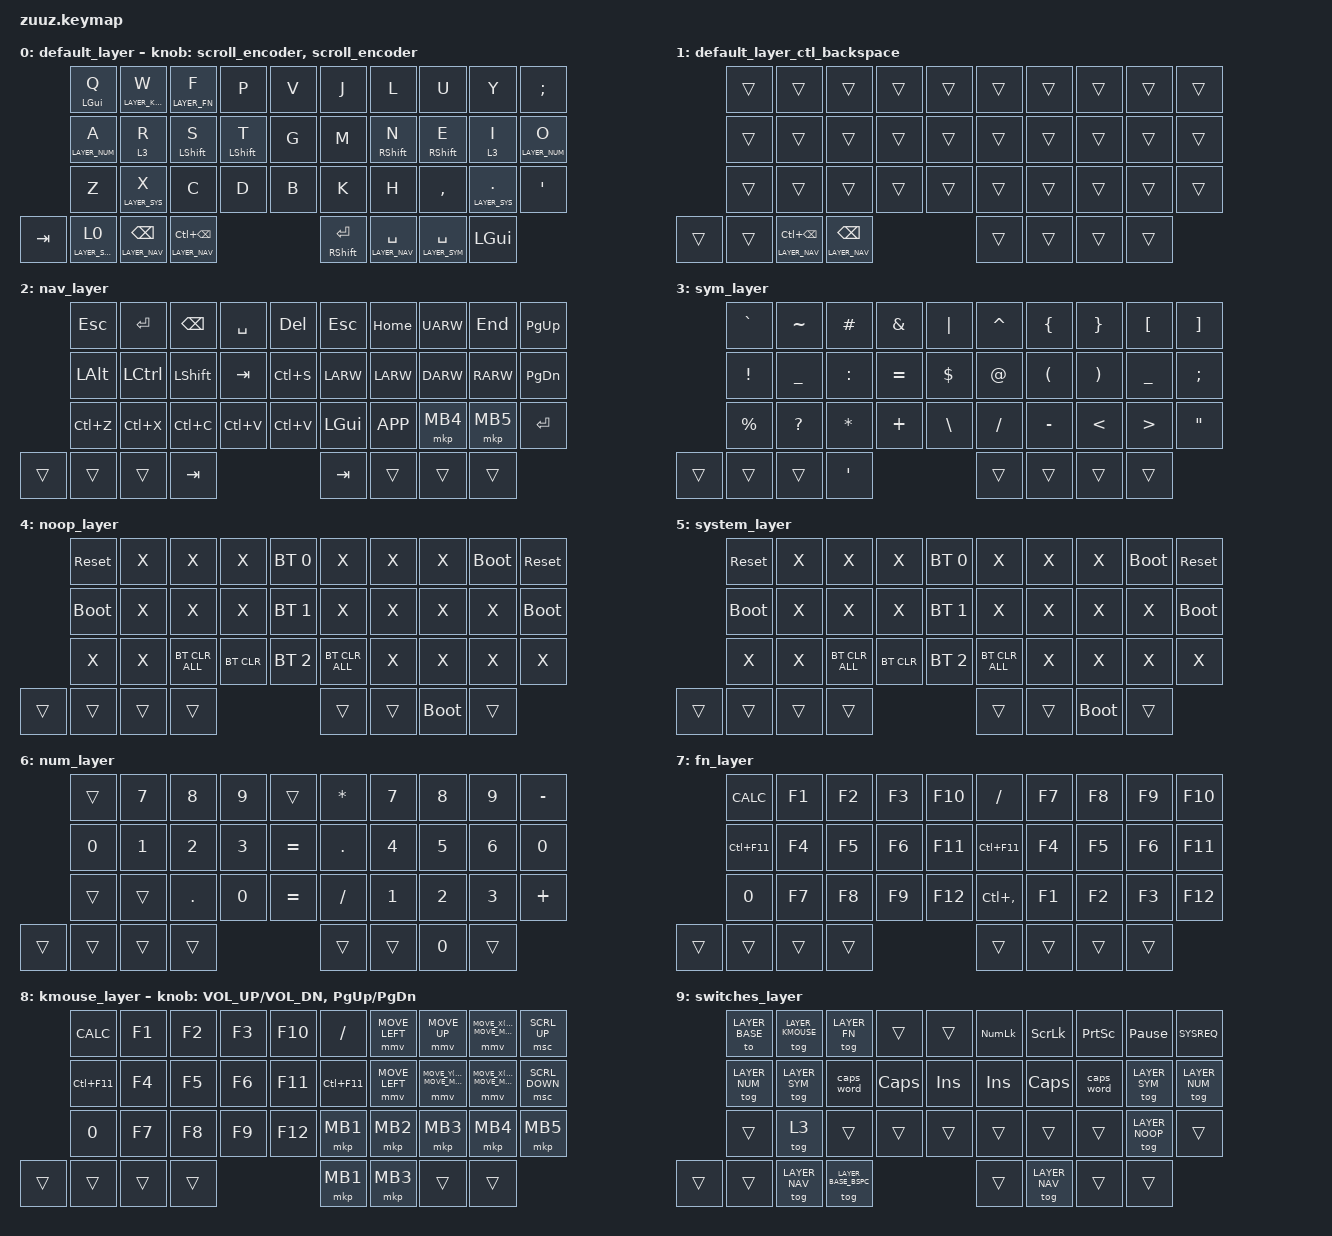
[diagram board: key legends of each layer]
// Copyright (c) 2022 The ZMK Contributors
// SPDX-License-Identifier: MIT

#include <behaviors.dtsi>
#include <dt-bindings/zmk/keys.h>
#include <dt-bindings/zmk/bt.h>
#include <dt-bindings/zmk/mouse.h>
#include <behaviors/mouse_keys.dtsi>


#define LAYER_BASE 0
#define LAYER_BASE_BSPC 1
#define LAYER_NAV 2
#define LAYER_SYM 3
#define LAYER_NOOP 4
#define LAYER_SYS 5
#define LAYER_NUM 6
#define LAYER_FN 7
#define LAYER_KMOUSE 8
#define LAYER_SWITCHES 9


// Home row mods macro
#define HRML(k1,k2,k3,k4) &homey_lt LAYER_NUM k1  &homey_lt LAYER_SYM k2   &shift_left LSHFT k3  &shift_left LSHFT k4
#define HRMR(k1,k2,k3,k4) &shift_right RSHFT k1  &shift_right RSHFT k2  &homey_rt LAYER_SYM k3  &homey_rt LAYER_NUM k4

&mmv {
  acceleration-exponent = <1>;      // 1
  time-to-max-speed-ms = <1500>;    // 40
  delay-ms = <0>;                   // 0
};

#define ZMK_MOUSE_DEFAULT_SCRL_VAL 50 // 10

&msc {
    acceleration-exponent = <0>;      // 0
    time-to-max-speed-ms = <0>;       // 300
    delay-ms = <0>;                   // 0
};

#define U_MOUSE_MOVE_MAX 1250       // 600
#define U_MOUSE_SCROLL_MAX 10      // 10

#undef MOVE_UP
#undef MOVE_DOWN
#undef MOVE_LEFT
#undef MOVE_RIGHT
#define MOVE_UP MOVE_Y(-U_MOUSE_MOVE_MAX)
#define MOVE_DOWN MOVE_Y(U_MOUSE_MOVE_MAX)
#define MOVE_LEFT MOVE_X(-U_MOUSE_MOVE_MAX)
#define MOVE_RIGHT MOVE_X(U_MOUSE_MOVE_MAX)

#undef SCROLL_UP
#undef SCROLL_DOWN
#undef SCROLL_LEFT
#undef SCROLL_RIGHT
#define SCROLL_UP SCRL_Y(U_MOUSE_SCROLL_MAX)
#define SCROLL_DOWN SCRL_Y(-U_MOUSE_SCROLL_MAX)
#define SCROLL_LEFT SCRL_X(-U_MOUSE_SCROLL_MAX)
#define SCROLL_RIGHT SCRL_X(U_MOUSE_SCROLL_MAX)


/ {
    behaviors {
        /omit-if-no-ref/ mmv_fast: mmv_fast {
            compatible = "zmk,behavior-input-two-axis";
            #binding-cells = <1>;
            x-input-code = <INPUT_REL_X>;
            y-input-code = <INPUT_REL_Y>;
            time-to-max-speed-ms = <50>;
            acceleration-exponent = <10>;
        };
		
		mmv_input_listener {
			compatible = "zmk,input-listener";
			device = <&mmv_fast>;
		};

		ht: hold_tap {
            compatible = "zmk,behavior-hold-tap";
            #binding-cells = <2>;
            flavor = "tap-preferred";
            tapping-term-ms = <220>;
            quick-tap-ms = <150>;
            require-prior-idle-ms = <100>;
            bindings = <&kp>, <&kp>;
        };
	
        rot_msc: sensor_rotate_msc {
            compatible = "zmk,behavior-sensor-rotate-var";
            #sensor-binding-cells = <2>;
            bindings = <&msc>, <&msc>;
			tap-ms = <50>;
			
        };

        scroll_encoder: scroll_encoder {
            compatible = "zmk,behavior-sensor-rotate";
            #sensor-binding-cells = <0>;
            bindings = <&msc SCRL_UP>, <&msc SCRL_DOWN>;
            tap-ms = <50>;
        };

		
        etch_a_sketch_encoder: etch_a_sketch_encoder {
            compatible = "zmk,behavior-sensor-rotate-var";
            #sensor-binding-cells = <2>;
            bindings = <&mmv_fast>, <&mmv_fast>;
            tap-ms = <50>;
        };

		//////////////////////////////////////////////////////////////////////////
		//
		// Miryoku layers and home row mods (ported from my QMK endgame)
		// - https://sunaku.github.io/home-row-mods.html#porting-to-zmk+*ffp
		// - https://github.com/urob/zmk-config#timeless-homerow-mods
		//
		//////////////////////////////////////////////////////////////////////////

		//
		// HOMEY_HOLDING_TYPE defines the flavor of ZMK hold-tap behavior to use
		// for the pinky, ring, and middle fingers (which are assigned to Super,
		// Alt, and Ctrl respectively in the Miryoku system) on home row keys.
		//
		#ifndef HOMEY_HOLDING_TYPE
		#define HOMEY_HOLDING_TYPE "balanced"
		#endif

		//
		// HOMEY_HOLDING_TIME defines how long you need to hold (milliseconds)
		// home row mod keys in order to send their modifiers to the computer
		// (i.e. "register" them) for mod-click mouse usage (e.g. Ctrl-Click).
		//
		#ifndef HOMEY_HOLDING_TIME
		#define HOMEY_HOLDING_TIME 500
		#endif

		//
		// HOMEY_STREAK_DECAY defines how long you need to wait (milliseconds)
		// after typing before you can use home row mods again.  It prevents
		// unintended activation of home row mods when you're actively typing.
		//
		#ifndef HOMEY_STREAK_DECAY
		#define HOMEY_STREAK_DECAY 170 // global-quick-tap-ms
		#endif

		//
		// HOMEY_REPEAT_DECAY defines how much time you have left (milliseconds)
		// after tapping a key to hold it again in order to make it auto-repeat.
		//
		#ifndef HOMEY_REPEAT_DECAY
		#define HOMEY_REPEAT_DECAY 300 // "tap then hold" for key auto-repeat
		#endif

		//
		// SHIFT_HOLDING_TYPE defines the flavor of ZMK hold-tap behavior to use
		// for index fingers (which Miryoku assigns to Shift) on home row keys.
		//
		// NOTE: The "tap-preferred" flavor of ZMK hold-tap for index finger keys
		// allows faster activation of the Shift modifier (without having to wait
		// for the modified key to be released as the "balanced" flavor requires).
		// Typing streaks and the `hold-trigger-on-release` setting are disabled
		// for the index fingers so as not to hinder their speed and dexterity.
		//
		#ifndef SHIFT_HOLDING_TYPE
		#define SHIFT_HOLDING_TYPE "balanced"
		#endif

		//
		// SHIFT_HOLDING_TIME defines how long you need to hold (milliseconds)
		// index finger keys in order to send their modifiers to the computer
		// (i.e. "register" them) for mod-click mouse usage (e.g. Shift-Click).
		//
		// CAUTION: You'll need to perform inward rolls from pinky->ring->middle
		// fingers toward the index fingers when activating multiple modifiers
		// because `hold-trigger-on-release` is disabled for the index fingers.
		// Otherwise, you may be surprised that the index fingers' modifier is
		// sent immediately without the rest of your multi-mod chord when you
		// perform outward rolls from your index fingers toward your pinkies.
		//
		#ifndef SHIFT_HOLDING_TIME
		#define SHIFT_HOLDING_TIME 170
		#endif

		//
		// SHIFT_STREAK_DECAY defines how long you need to wait (milliseconds)
		// after typing before you can use home row mods again.  It prevents
		// unintended activation of home row mods when you're actively typing.
		//
		#ifndef SHIFT_STREAK_DECAY
		#define SHIFT_STREAK_DECAY 70 // global-quick-tap-ms
		#endif

		//
		// SHIFT_REPEAT_DECAY defines how much time you have left (milliseconds)
		// after tapping a key to hold it again in order to make it auto-repeat.
		//
		#ifndef SHIFT_REPEAT_DECAY
		#define SHIFT_REPEAT_DECAY 300 // "tap then hold" for key auto-repeat
		#endif

		//
		// THUMB_HOLDING_TYPE defines the flavor of ZMK hold-tap behavior to use
		// for the thumbs (which are assigned to 6 layers in the Miryoku system).
		//
		// NOTE: The "balanced" flavor of ZMK hold-tap provides instant modifier
		// activation for the symbol layer (if the tapped symbol key is released
		// while the thumb layer key is still held down) for quicker programming.
		//
		#ifndef THUMB_HOLDING_TYPE
		#define THUMB_HOLDING_TYPE "balanced"
		#endif

		//
		// THUMB_HOLDING_TIME defines how long you need to hold (milliseconds)
		// a thumb key to activate a layer.  Shorter holds are treated as taps.
		//
		#ifndef THUMB_HOLDING_TIME
		#define THUMB_HOLDING_TIME 5000
		#endif

		//
		// THUMB_REPEAT_DECAY defines how much time you have left (milliseconds)
		// after tapping a key to hold it again in order to make it auto-repeat.
		//
		#ifndef THUMB_REPEAT_DECAY
		#define THUMB_REPEAT_DECAY 300 // "tap then hold" for key auto-repeat
		#endif

		//
		// SPACE_HOLDING_TIME defines how long you need to hold (milliseconds)
		// the space thumb key to activate.  Shorter holds are treated as taps.
		//
		#ifndef SPACE_HOLDING_TIME
		#define SPACE_HOLDING_TIME 170
		#endif

		//
		// SPACE_REPEAT_DECAY defines how much time you have left (milliseconds)
		// after tapping a key to hold it again in order to make it auto-repeat.
		//
		#ifndef SPACE_REPEAT_DECAY
		#define SPACE_REPEAT_DECAY 200 // "tap then hold" for key auto-repeat
		#endif

		//
		// Ferris sweep key positions index for positional hold-tap
		//
		// |------------------------|------------------------|
		// | LEFT_HAND_KEYS         |        RIGHT_HAND_KEYS |
		// |                        |                        |
		// |  0  1  2  3  4         |          5  6  7  8  9 |
		// | 10 11 12 13 14         |         15 16 17 18 19 |
		// | 20 21 22 23 24         |      25 26 27 28 29 30 |
		// |	        31 32 33    |  34 35 36              |
		// |------------------------|------------------------|
		//
		#define LEFT_HAND_KEYS  \
			  0  1  2  3  4     \
			 10 11 12 13 14     \
			 20 21 22 23 24

		#define RIGHT_HAND_KEYS     \
										5  6  7  8  9 \
									   15 16 17 18 19 \
									   25 26 27 28 29 30
		#define THUMB_KEYS          \
							31 32 33   34 35 36  

		//
		// Home row mod-tap keys for all except index fingers
		//
		homey_left: homey_left {
			compatible = "zmk,behavior-hold-tap";
			flavor = HOMEY_HOLDING_TYPE;
			hold-trigger-key-positions = <RIGHT_HAND_KEYS THUMB_KEYS>;
			//hold-trigger-on-release; // wait for other home row mods
			tapping-term-ms = <HOMEY_HOLDING_TIME>;
			quick-tap-ms = <HOMEY_REPEAT_DECAY>;
			require-prior-idle-ms = <HOMEY_STREAK_DECAY>;
			#binding-cells = <2>;
			bindings = <&kp>, <&kp>;
		};
		homey_right: homey_right {
			compatible = "zmk,behavior-hold-tap";
			flavor = HOMEY_HOLDING_TYPE;
			hold-trigger-key-positions = <LEFT_HAND_KEYS THUMB_KEYS>;
			//hold-trigger-on-release; // wait for other home row mods
			tapping-term-ms = <HOMEY_HOLDING_TIME>;
			quick-tap-ms = <HOMEY_REPEAT_DECAY>;
			require-prior-idle-ms = <HOMEY_STREAK_DECAY>;
			#binding-cells = <2>;
			bindings = <&kp>, <&kp>;
		};
 
        //
		// Special home row mod-tap keys for the index fingers
		
		shift_left: shift_left {
			compatible = "zmk,behavior-hold-tap";
			flavor = SHIFT_HOLDING_TYPE;
			hold-trigger-key-positions = <RIGHT_HAND_KEYS THUMB_KEYS>;
			//hold-trigger-on-release; // don't wait for other mods
			tapping-term-ms = <SHIFT_HOLDING_TIME>;
			//quick-tap-ms = <SHIFT_REPEAT_DECAY>;
			//require-prior-idle-ms = <SHIFT_STREAK_DECAY>;
			#binding-cells = <2>;
			bindings = <&kp>, <&kp>;
		};
		
		shift_right: shift_right {
			compatible = "zmk,behavior-hold-tap";
			flavor = SHIFT_HOLDING_TYPE;
			hold-trigger-key-positions = <LEFT_HAND_KEYS THUMB_KEYS>;
			//hold-trigger-on-release; // don't wait for other mods
			tapping-term-ms = <SHIFT_HOLDING_TIME>;
			//quick-tap-ms = <SHIFT_REPEAT_DECAY>;
			//require-prior-idle-ms = <SHIFT_STREAK_DECAY>;
			#binding-cells = <2>;
			bindings = <&kp>, <&kp>;
		}; 
		
		homey_lt: homey_lt {
			compatible = "zmk,behavior-hold-tap";
			label = "HOMEY_LT";
			flavor = SHIFT_HOLDING_TYPE;
			hold-trigger-key-positions = <RIGHT_HAND_KEYS THUMB_KEYS>;
			//hold-trigger-on-release; // don't wait for other mods
			tapping-term-ms = <HOMEY_HOLDING_TIME>;
			//quick-tap-ms = <SHIFT_REPEAT_DECAY>;
			//require-prior-idle-ms = <SHIFT_STREAK_DECAY>;
			#binding-cells = <2>;
			bindings = <&mo>, <&kp>;
		};
	    homey_rt: homey_rt {
			compatible = "zmk,behavior-hold-tap";
			flavor = SHIFT_HOLDING_TYPE;
			hold-trigger-key-positions = <LEFT_HAND_KEYS THUMB_KEYS>;
			//hold-trigger-on-release; // don't wait for other mods
			tapping-term-ms = <HOMEY_HOLDING_TIME>;
			//quick-tap-ms = <SHIFT_REPEAT_DECAY>;
			//require-prior-idle-ms = <SHIFT_STREAK_DECAY>;
			#binding-cells = <2>;
			bindings = <&mo>, <&kp>;
		};
	    homey_rt_tap: homey_rt_tap {
			compatible = "zmk,behavior-hold-tap";
			flavor = "tap-preferred";
			hold-trigger-key-positions = <LEFT_HAND_KEYS THUMB_KEYS>;
			//hold-trigger-on-release; // don't wait for other mods
			tapping-term-ms = <HOMEY_HOLDING_TIME>;
			//quick-tap-ms = <SHIFT_REPEAT_DECAY>;
			//require-prior-idle-ms = <SHIFT_STREAK_DECAY>;
			#binding-cells = <2>;
			bindings = <&mo>, <&kp>;
		};

		//
		// Thumb cluster hold-tap keys for Miryoku layers
		//
		thumb: miryoku_thumb_layer {
			compatible = "zmk,behavior-hold-tap";
			label = "MIRYOKU_THUMB_LAYER";
			flavor = THUMB_HOLDING_TYPE;
			tapping-term-ms = <THUMB_HOLDING_TIME>;
			quick-tap-ms = <THUMB_REPEAT_DECAY>; // enable repeat
			//global-quick-tap; // no typing streak
			//retro-tap; // don't allow slow (hold-like) taps
			#binding-cells = <2>;
			bindings = <&mo>, <&kp>;
		};
		backspace: miryoku_backspace_layer {
			compatible = "zmk,behavior-hold-tap";
			label = "MIRYOKU_BACKSPACE_LAYER";
			flavor = "hold-preferred";
			tapping-term-ms = <THUMB_HOLDING_TIME>;
			quick-tap-ms = <THUMB_REPEAT_DECAY>; // enable repeat
			//global-quick-tap; // no typing streak
			//retro-tap; // don't allow slow (hold-like) taps
			#binding-cells = <2>;
			bindings = <&mo>, <&kp>;
		};
		space: miryoku_thumb_layer_spacebar {
			compatible = "zmk,behavior-hold-tap";
			label = "MIRYOKU_THUMB_LAYER_SPACEBAR";
			flavor = THUMB_HOLDING_TYPE;
			tapping-term-ms = <SPACE_HOLDING_TIME>;
			quick-tap-ms = <SPACE_REPEAT_DECAY>; // enable repeat
			//global-quick-tap; // no typing streak
			retro-tap; // allow slow (hold-like) taps
			#binding-cells = <2>;
			bindings = <&mo>, <&kp>;
		};

		//////////////////////////////////////////////////////////////////////////
		//
		// Custom shifted pairs
		//
		//////////////////////////////////////////////////////////////////////////

		//
		// Shift + CapsWord = CapsLock
		//
		cappy: capsword_and_capslock {
			compatible = "zmk,behavior-mod-morph";
			label = "CAPSWORD_AND_CAPSLOCK";
			#binding-cells = <0>;
			bindings = <&caps_word>, <&kp CAPSLOCK>;
			mods = <(MOD_LSFT|MOD_RSFT)>;
		};

		mm_you: mm_you {
            compatible = "zmk,behavior-mod-morph";
            #binding-cells = <0>;
            bindings = <&mlc_you>, <&muc_you>;
            mods = <(MOD_LSFT)>;
        };

		lmt: layer_momentary_to {
			compatible = "zmk,behavior-hold-tap";
			tapping-term-ms = <THUMB_HOLDING_TIME>;
			flavor = THUMB_HOLDING_TYPE;
			#binding-cells = <2>;
			bindings = <&mo>, <&to>;
		};

		//////////////////////////////////////////////////////////////////////////
		//
		// ZMK global overrides
		//
		//////////////////////////////////////////////////////////////////////////

		//
		// CapsWord - ported from Pascal Getreuer's extension for QMK
		// - https://zmk.dev/docs/behaviors/caps-word
		// - https://getreuer.info/posts/keyboards/caps-word/index.html
		//
		behavior_caps_word {
			continue-list = <
				UNDERSCORE MINUS
				BACKSPACE DELETE
				N1 N2 N3 N4 N5 N6 N7 N8 N9 N0
			>;
		};
	};


    conditional_layers {
        compatible = "zmk,conditional-layers";
        tri_layer {
            if-layers = <1 2>;
            then-layer = <3>;
        };
    };

    macros {
		y_o_u: y_o_u {
			compatible = "zmk,behavior-macro";
			#binding-cells = <0>;
			bindings
				= <&macro_tap &kp Y &kp O &kp U>
				;
		};
        v_e_r: v_e_r {
            compatible = "zmk,behavior-macro";
            #binding-cells = <0>;
            bindings
                = <&macro_tap &kp V &kp E &kp R>
                ;
        };
        v_e: v_e {
            compatible = "zmk,behavior-macro";
            #binding-cells = <0>;
            bindings
                = <&macro_tap &kp V &kp E>
                ;
        };
		cap_y_o_u: cap_y_o_u {
            compatible = "zmk,behavior-macro";
            #binding-cells = <0>;
            bindings
                = <&kp LS(Y)>
                , <&kp O>
                , <&kp U>
                ;
        };

		muc_you: macro_uc_you {
            compatible = "zmk,behavior-macro";
            #binding-cells = <0>;
            wait-ms = <0>;
            tap-ms = <1>;
            bindings
                = <&kp LS(Y)>
                , <&kp O>
                , <&kp U>
                ;
        };

        mlc_you: macro_lc_you {
            compatible = "zmk,behavior-macro";
            #binding-cells = <0>;
            wait-ms = <0>;
            tap-ms = <1>;
            bindings
                = <&kp Y>
                , <&kp O>
                , <&kp U>
                ;
        };
   };
	
	//
	// |------------------------|------------------------|
	// | LEFT_HAND_KEYS         |        RIGHT_HAND_KEYS |
	// |                        |                        |
	// |  0  1  2  3  4         |          5  6  7  8  9 |
	// | 10 11 12 13 14         |         15 16 17 18 19 |
	// | 20 21 22 23 24         |         25 26 27 28 29 |
	// |	       30 31 32     |  33 34 35              |
	// |------------------------|------------------------|
	//
	
    combos {
        compatible = "zmk,combos";
        combo_esc {
            timeout-ms = <50>;
            key-positions = <0 1>;
            bindings = <&kp ESC>;
        };
        combo_find {
            timeout-ms = <50>;
            key-positions = <1 2>;
            bindings = <&kp LC(F)>;
        };
        combo_findfiles {
            timeout-ms = <50>;
            key-positions = <1 2 3>;
            bindings = <&kp LC(LS(F))>;
        };
		combo_lctl {
            timeout-ms = <50>;
            key-positions = <20 21>;
            bindings = <&sk LCTRL>;
        };
        combo_lalt {
            timeout-ms = <50>;
            key-positions = <21 22>;
            bindings = <&sk LALT>;
        };
        combo_lcalt {
            timeout-ms = <50>;
            key-positions = <20 21 22>;
            bindings = <&sk LC(LALT)>;
        };
		combo_rctl {
            timeout-ms = <50>;
            key-positions = <28 29>;
            bindings = <&sk RCTRL>;
        };
        combo_ralt {
            timeout-ms = <50>;
            key-positions = <27 28>;
            bindings = <&sk RALT>;
        }; 
        combo_rcalt {
            timeout-ms = <50>;
            key-positions = <27 28 29>;
            bindings = <&sk RC(RALT)>;
        };
		combo_lgui {
            timeout-ms = <50>;
            key-positions = <30 31>;
            bindings = <&sk LGUI>;
        };
        combo_rgui {
            timeout-ms = <50>;
            key-positions = <34 35>;
            bindings = <&sk RGUI>;
        };
        combo_app1 {
            timeout-ms = <50>;
            key-positions = <30 32>;
            bindings = <&kp K_APP>;
        };
        combo_app2 {
            timeout-ms = <50>;
            key-positions = <33 35>;
            bindings = <&kp K_APP>;
        };
        combo_YOU {
            timeout-ms = <50>;
            key-positions = <7 8>;
            bindings = <&mm_you>;
            layers = <0>;
        };
        combo_ver {
		    layers = <0>;
            timeout-ms = <50>;
            key-positions = <10 11>;
            bindings = <&v_e_r>;
        };		
        combo_ver2 {
		    layers = <0>;
            timeout-ms = <50>;
            key-positions = <3 4>;
            bindings = <&v_e_r>;
        };		 
        combo_ver3 {
		    layers = <0>;
            timeout-ms = <50>;
            key-positions = <17 27>;
            bindings = <&v_e>;
        };	
	};


    keymap {
        compatible = "zmk,keymap";
        default_layer {
            bindings = <
        //╭──────────┬──────────┬──────────┬──────────┬──────────╮   ╭──────────┬──────────┬──────────┬──────────┬──────────╮
        //│  Q       │  W       │  F       │  P       │  V       │   │  J       │  L       │  U       │  Y       │  P       │
 &homey_left LGUI Q  &homey_lt LAYER_KMOUSE W  &homey_lt LAYER_FN F  &kp P  &kp V       &kp J     &kp L       &kp U   &kp Y     &kp SEMI
        //├──────────┼──────────┼──────────┼──────────┼──────────┤   ├──────────┼──────────┼──────────┼──────────┼──────────┤
        //│  A       │  R       │  S       │  T       │  G       │   │  M       │  N       │  E       │  I       │ O        │
 &homey_lt LAYER_NUM A  &homey_lt 3 R  &shift_left LSHFT S  &shift_left LSHFT T  &kp G   
                                                                       &kp M  &shift_right RSHFT N  &shift_right RSHFT E  &homey_rt 3 I  &homey_rt LAYER_NUM O
        //├──────────┼──────────┼──────────┼──────────┼──────────┤   ├──────────┼──────────┼──────────┼──────────┼──────────┤
        //│  Z       │  X       │  C       │  D       │  B       │   │   K      │  H       │ , <      │ . >      │ / ?      │
        &kp Z  &homey_lt LAYER_SYS X	&kp C      &kp D      &kp B          &kp K    &kp H      &kp COMMA  &homey_rt LAYER_SYS DOT  &kp SQT
        //╰──────────┴──────────┴──────────┼──────────┼──────────┤   ├──────────┼──────────┼──────────┴──────────┴──────────╯
      &kp TAB   &lmt LAYER_SWITCHES 0   &backspace LAYER_NAV BSPC  &backspace LAYER_NAV LC(BSPC)    &homey_right RSHFT ENTER    &thumb LAYER_NAV SPACE    &thumb LAYER_SYM SPACE   &kp LGUI

        //                                 ╰──────────┴──────────╯   ╰──────────┴──────────╯
		// Don't try and put shift and space on the same key. You often need to shift after a space.
			>;   
			
           sensor-bindings = <&scroll_encoder	 &scroll_encoder >;    

	   };

        default_layer_ctl_backspace {
            bindings = <
        //╭──────────┬──────────┬──────────┬──────────┬──────────╮   ╭──────────┬──────────┬──────────┬──────────┬──────────╮
           &trans      &trans     &trans     &trans     &trans         &trans      &trans     &trans     &trans     &trans      
        //├──────────┼──────────┼──────────┼──────────┼──────────┤   ├──────────┼──────────┼──────────┼──────────┼──────────┤
           &trans      &trans     &trans     &trans     &trans         &trans      &trans     &trans     &trans     &trans      
        //├──────────┼──────────┼──────────┼──────────┼──────────┤   ├──────────┼──────────┼──────────┼──────────┼──────────┤
           &trans      &trans     &trans     &trans     &trans         &trans      &trans     &trans     &trans     &trans      
        //╰──────────┴──────────┴──────────┼──────────┼──────────┤   ├──────────┼──────────┼──────────┴──────────┴──────────╯
   &trans &trans &backspace LAYER_NAV LC(BSPC) &backspace LAYER_NAV BSPC  &trans      &trans     &trans     &trans

        //                                 ╰──────────┴──────────╯   ╰──────────┴──────────╯
			>;   
	   };

        nav_layer {
            bindings = <	
        //╭──────────┬──────────┬──────────┬──────────┬──────────╮   ╭──────────┬──────────┬──────────┬──────────┬──────────╮
            &kp ESC    &kp ENTER  &kp BSPC   &kp SPACE  &kp DEL        &kp ESC    &kp HOME   &kp UARW   &kp END    &kp PG_UP
        //├──────────┼──────────┼──────────┼──────────┼──────────┤   ├──────────┼──────────┼──────────┼──────────┼──────────┤
            &kp LALT   &kp LCTRL  &kp LSHFT  &kp TAB    &kp LC(S)      &kp LARW   &kp LARW   &kp DARW   &kp RARW   &kp PG_DN
        //├──────────┼──────────┼──────────┼──────────┼──────────┤   ├──────────┼──────────┼──────────┼──────────┼──────────┤
            &kp LC(Z)  &kp LC(X)  &kp LC(C) &kp LC(V)  &kp LC(V)      &kp LGUI   &kp K_APP  &mkp MB4   &mkp MB5  &kp ENTER
        //╰──────────┴──────────┴──────────┼──────────┼──────────┤   ├──────────┼──────────┼──────────┴──────────┴──────────╯
                    &trans     &trans            &trans    &kp TAB        &kp TAB    &trans    &trans  &trans 

        //                                 ╰──────────┴──────────╯   ╰──────────┴──────────╯
            >;
        };
			 
		
		sym_layer {
            bindings = <
        //╭──────────┬──────────┬──────────┬──────────┬──────────╮   ╭──────────┬──────────┬──────────┬──────────┬──────────╮
        //│ `        │  ~       │  #       │  &       │ |        │   │  ^       │  {       │  }       │  [       │ ]        │
            &kp GRAVE  &kp TILDE  &kp HASH   &kp AMPS   &kp PIPE       &kp CARET  &kp LBRC   &kp RBRC   &kp LBKT   &kp RBKT
        //├──────────┼──────────┼──────────┼──────────┼──────────┤   ├──────────┼──────────┼──────────┼──────────┼──────────┤
        //│  !       │  _       │  :       │  =       │  $       │   │  @       │  (       │  )       │  _       │  ;       │
           &kp EXCL   &kp UNDER   &kp COLON  &kp EQUAL  &kp DLLR       &kp AT     &kp LPAR   &kp RPAR   &kp UNDER  &kp SEMI
        //├──────────┼──────────┼──────────┼──────────┼──────────┤   ├──────────┼──────────┼──────────┼──────────┼──────────┤
        //│ %        │  ?       │ *        │ +        │ \        │   │ /        │  -       │  <       │  >       │ "        │
            &kp PRCNT  &kp QMARK &kp STAR    &kp PLUS  &kp BSLH       &kp SLASH &kp MINUS  &kp LT    &kp GT      &kp DQT
        //╰──────────┴──────────┴──────────┼──────────┼──────────┤   ├──────────┼──────────┼──────────┴──────────┴──────────╯
                        &trans      &trans        &trans    &kp SQT         &trans     &trans     &trans  &trans
        //                                 ╰──────────┴──────────╯   ╰──────────┴──────────╯   		
		    >;
        };

		noop_layer {
            bindings = <
        //╭──────────┬──────────┬──────────┬──────────┬──────────╮   ╭──────────┬──────────┬──────────┬──────────┬──────────╮
        //│ RESET    │          │          │          │PROFILE 0 │   │          │          │          │          │  RESET   │
           &sys_reset  &kp X     &kp X     &kp X    &bt BT_SEL 0      &kp X     &kp X     &kp X     &bootloader   &sys_reset
        //├──────────┼──────────┼──────────┼──────────┼──────────┤   ├──────────┼──────────┼──────────┼──────────┼──────────┤
        //│BOOTLOADER│          │          │          │PROFILE 1 │   │          │          │          │          │BOOTLOADER│
          &bootloader  &kp X     &kp X     &kp X    &bt BT_SEL 1       &kp X     &kp X     &kp X     &kp X    &bootloader
        //├──────────┼──────────┼──────────┼──────────┼──────────┤   ├──────────┼──────────┼──────────┼──────────┼──────────┤
        //│          │          │          │ CLEAR BT │PROFILE 2 │   │          │          │          │          │          │
            &kp X     &kp X     &bt BT_CLR_ALL    &bt BT_CLR &bt    BT_SEL 2    &bt BT_CLR_ALL    &kp X     &kp X     &kp X     &kp X
        //╰──────────┴──────────┴──────────┼──────────┼──────────┤   ├──────────┼──────────┼──────────┴──────────┴──────────╯
                     &trans          &trans        &trans     &trans         &trans     &trans     &bootloader  &trans
        //                                 ╰──────────┴──────────╯   ╰──────────┴──────────╯

            >;
        };

        system_layer {
            bindings = <
        //╭──────────┬──────────┬──────────┬──────────┬──────────╮   ╭──────────┬──────────┬──────────┬──────────┬──────────╮
        //│ RESET    │          │          │          │PROFILE 0 │   │          │          │          │          │  RESET   │
           &sys_reset  &kp X     &kp X     &kp X    &bt BT_SEL 0      &kp X     &kp X     &kp X     &bootloader    &sys_reset
        //├──────────┼──────────┼──────────┼──────────┼──────────┤   ├──────────┼──────────┼──────────┼──────────┼──────────┤
        //│BOOTLOADER│          │          │          │PROFILE 1 │   │          │          │          │          │BOOTLOADER│
          &bootloader  &kp X     &kp X     &kp X    &bt BT_SEL 1       &kp X     &kp X     &kp X     &kp X    &bootloader
        //├──────────┼──────────┼──────────┼──────────┼──────────┤   ├──────────┼──────────┼──────────┼──────────┼──────────┤
        //│          │          │          │ CLEAR BT │PROFILE 2 │   │          │          │          │          │          │
            &kp X     &kp X     &bt BT_CLR_ALL    &bt BT_CLR &bt    BT_SEL 2    &bt BT_CLR_ALL    &kp X     &kp X     &kp X     &kp X
        //╰──────────┴──────────┴──────────┼──────────┼──────────┤   ├──────────┼──────────┼──────────┴──────────┴──────────╯
                     &trans          &trans        &trans     &trans         &trans     &trans     &bootloader  &trans
        //                                 ╰──────────┴──────────╯   ╰──────────┴──────────╯
            >;
        };
		
		num_layer {
            bindings = <
        //╭──────────┬──────────┬──────────┬──────────┬──────────╮   ╭──────────┬──────────┬──────────┬──────────┬──────────╮
        //│ INSERT   │  1       │  2       │  3       │          │   │ HOME     │ PAGE DN  │ PAGE UP  │ END      │  :       │
            &trans     &kp N7     &kp N8     &kp N9	    &trans         &kp STAR   &kp N7     &kp N8     &kp N9     &kp MINUS
        //├──────────┼──────────┼──────────┼──────────┼──────────┤   ├──────────┼──────────┼──────────┼──────────┼──────────┤
        //│ DELETE   │  4       │  5       │  6       │          │   │ LEFT     │ DOWN     │ UP       │ RIGHT    │  ;       │
            &kp N0     &kp N1     &kp N2     &kp N3    &kp EQUAL	  &kp DOT    &kp N4     &kp N5     &kp N6     &kp N0
        //├──────────┼──────────┼──────────┼──────────┼──────────┤   ├──────────┼──────────┼──────────┼──────────┼──────────┤
        //│ CAPS     │  7       │  8       │  9       │  0       │   │          │          │          │          │          │
            &trans     &trans     &kp DOT    &kp N0     &kp EQUAL      &kp SLASH  &kp N1     &kp N2     &kp N3     &kp PLUS
        //╰──────────┴──────────┴──────────┼──────────┼──────────┤   ├──────────┼──────────┼──────────┴──────────┴──────────╯
                            &trans   &trans    &trans    &trans    &trans   &trans  &kp N0 &trans
        //                                 ╰──────────┴──────────╯   ╰──────────┴──────────╯

            >;
        };

		fn_layer {
            bindings = <
        //╭──────────┬──────────┬──────────┬──────────┬──────────╮   ╭──────────┬──────────┬──────────┬──────────┬──────────╮
        //│ CALC     │  F1      │  F2      │  F3      │ F10      │   │ HOME     │ F7       │ F8       │ F9       │ F10      │
            &kp K_CALC &kp F1     &kp F2     &kp F3     &kp F10        &kp SLASH  &kp F7     &kp F8     &kp F9     &kp F10
        //├──────────┼──────────┼──────────┼──────────┼──────────┤   ├──────────┼──────────┼──────────┼──────────┼──────────┤
        //│ CTL F11  │  F4      │  F5      │  F6      │ F11      │   │ LEFT     │ F4       │ F5       │ F6       │ F11      │
            &kp LC(F11) &kp F4    &kp F5     &kp F6     &kp F11        &kp LC(F11)  &kp F4   &kp F5     &kp F6     &kp F11
        //├──────────┼──────────┼──────────┼──────────┼──────────┤   ├──────────┼──────────┼──────────┼──────────┼──────────┤
        //│ 0        │  F7      │  F8      │  F9      │ F12      │   │ CTL ,    │ F1       │ F2       │ F3       │ F12      │
            &kp N0     &kp F7     &kp F8     &kp F9     &kp F12        &kp LC(COMMA)  &kp F1  &kp F2    &kp F3     &kp F12
        //╰──────────┴──────────┴──────────┼──────────┼──────────┤   ├──────────┼──────────┼──────────┴──────────┴──────────╯
                        &trans       &trans        &trans     &trans         &trans     &trans     &trans  &trans
        //                                 ╰──────────┴──────────╯   ╰──────────┴──────────╯
            >;
        };

		kmouse_layer {
            bindings = <
        //╭──────────┬──────────┬──────────┬──────────┬──────────╮   ╭──────────┬──────────┬──────────┬──────────┬──────────╮
            &kp K_CALC &kp F1     &kp F2     &kp F3     &kp F10        &kp SLASH  &mmv MOVE_LEFT   &mmv MOVE_UP     &mmv MOVE_RIGHT    &msc SCRL_UP
        //├──────────┼──────────┼──────────┼──────────┼──────────┤   ├──────────┼──────────┼──────────┼──────────┼──────────┤
            &kp LC(F11) &kp F4    &kp F5     &kp F6     &kp F11        &kp LC(F11)  &mmv MOVE_LEFT  &mmv MOVE_DOWN  &mmv MOVE_RIGHT    &msc SCRL_DOWN
        //├──────────┼──────────┼──────────┼──────────┼──────────┤   ├──────────┼──────────┼──────────┼──────────┼──────────┤
            &kp N0     &kp F7     &kp F8     &kp F9     &kp F12        &mkp MB1   &mkp MB2    &mkp MB3  &mkp MB4   &mkp MB5
        //╰──────────┴──────────┴──────────┼──────────┼──────────┤   ├──────────┼──────────┼──────────┴─────────┴──────────╯
                     &trans     &trans        &trans     &trans			&mkp MB1  &mkp MB3   &trans  &trans
        //                                 ╰──────────┴──────────╯   ╰──────────┴──────────╯ 
            >;
           sensor-bindings = <&inc_dec_kp C_VOL_UP C_VOL_DN &inc_dec_kp PG_UP PG_DN>;
		   	   };

        switches_layer {
            bindings = <
        //╭──────────┬──────────┬──────────┬──────────┬──────────╮   ╭──────────┬──────────┬──────────┬──────────┬──────────╮
      &to LAYER_BASE  &tog LAYER_KMOUSE  &tog LAYER_FN     &trans     &trans         &kp KP_NUM  &kp SLCK &kp PSCRN  &kp PAUSE_BREAK  &kp SYSREQ
        //├──────────┼──────────┼──────────┼──────────┼──────────┤   ├──────────┼──────────┼──────────┼──────────┼──────────┤
      &tog LAYER_NUM    &tog LAYER_SYM     &caps_word  &kp CAPSLOCK &kp INSERT   &kp INSERT &kp CAPSLOCK  &caps_word  &tog LAYER_SYM  &tog LAYER_NUM
        //├──────────┼──────────┼──────────┼──────────┼──────────┤   ├──────────┼──────────┼──────────┼──────────┼──────────┤
           &trans      &tog 3   &trans      &trans     &trans      &trans      &trans    &trans      &tog LAYER_NOOP   &trans
        //╰──────────┴──────────┴──────────┼──────────┼──────────┤   ├──────────┼──────────┼──────────┴──────────┴──────────╯
                 &trans  &trans  &tog LAYER_NAV  &tog LAYER_BASE_BSPC    &trans    &tog LAYER_NAV     &trans  &trans

        //                                 ╰──────────┴──────────╯   ╰──────────┴──────────╯
			>;   
		   };
    };
};
